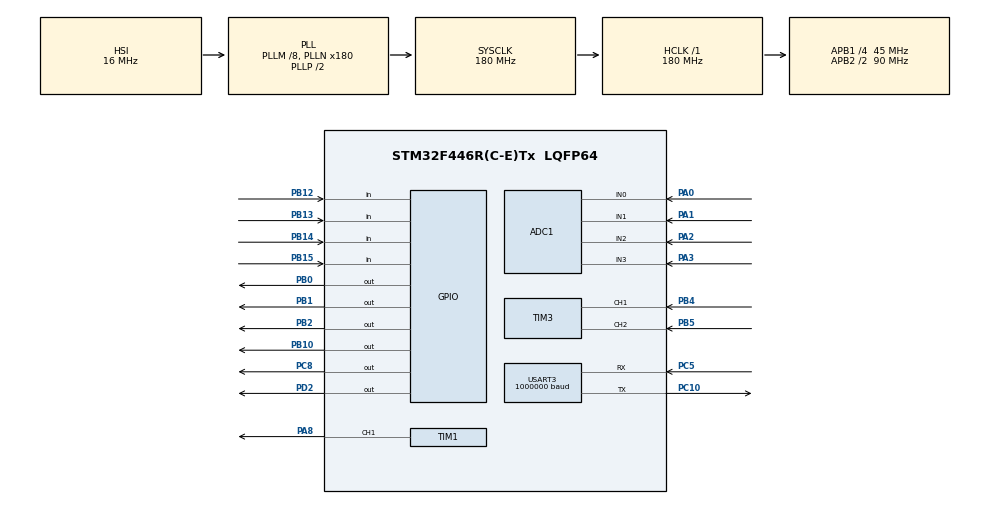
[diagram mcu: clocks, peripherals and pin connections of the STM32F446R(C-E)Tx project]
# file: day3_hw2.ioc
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ADC1.Channel-0\#ChannelRegularConversion=ADC_CHANNEL_0
ADC1.Channel-1\#ChannelRegularConversion=ADC_CHANNEL_1
ADC1.Channel-2\#ChannelRegularConversion=ADC_CHANNEL_2
ADC1.Channel-3\#ChannelRegularConversion=ADC_CHANNEL_3
ADC1.DMAContinuousRequests=ENABLE
ADC1.ExternalTrigConv=ADC_EXTERNALTRIGCONV_T8_TRGO
ADC1.NbrOfConversion=4
ADC1.NbrOfConversionFlag=1
ADC1.Rank-0\#ChannelRegularConversion=1
ADC1.Rank-1\#ChannelRegularConversion=2
ADC1.Rank-2\#ChannelRegularConversion=3
ADC1.Rank-3\#ChannelRegularConversion=4
ADC1.SamplingTime-0\#ChannelRegularConversion=ADC_SAMPLETIME_15CYCLES
ADC1.SamplingTime-1\#ChannelRegularConversion=ADC_SAMPLETIME_15CYCLES
ADC1.SamplingTime-2\#ChannelRegularConversion=ADC_SAMPLETIME_15CYCLES
ADC1.SamplingTime-3\#ChannelRegularConversion=ADC_SAMPLETIME_15CYCLES
ADC1.ScanConvMode=ENABLE
ADC1.master=1
Dma.ADC1.0.Direction=DMA_PERIPH_TO_MEMORY
Dma.ADC1.0.FIFOMode=DMA_FIFOMODE_DISABLE
Dma.ADC1.0.Instance=DMA2_Stream0
Dma.ADC1.0.MemDataAlignment=DMA_MDATAALIGN_WORD
Dma.ADC1.0.MemInc=DMA_MINC_ENABLE
Dma.ADC1.0.Mode=DMA_CIRCULAR
Dma.ADC1.0.PeriphDataAlignment=DMA_PDATAALIGN_WORD
Dma.ADC1.0.PeriphInc=DMA_PINC_DISABLE
Dma.ADC1.0.Priority=DMA_PRIORITY_LOW
Dma.Request0=ADC1
Dma.Request1=USART3_RX
Dma.USART3_RX.1.Direction=DMA_PERIPH_TO_MEMORY
Dma.USART3_RX.1.FIFOMode=DMA_FIFOMODE_DISABLE
Dma.USART3_RX.1.Instance=DMA1_Stream1
Dma.USART3_RX.1.MemDataAlignment=DMA_MDATAALIGN_BYTE
Dma.USART3_RX.1.MemInc=DMA_MINC_ENABLE
Dma.USART3_RX.1.Mode=DMA_CIRCULAR
Dma.USART3_RX.1.PeriphDataAlignment=DMA_PDATAALIGN_BYTE
Dma.USART3_RX.1.PeriphInc=DMA_PINC_DISABLE
Dma.USART3_RX.1.Priority=DMA_PRIORITY_LOW
Mcu.Family=STM32F4
Mcu.Name=STM32F446R(C-E)Tx
Mcu.Package=LQFP64
NVIC.ADC_IRQn=true\:0\:0\:false\:false\:true\:true\:true\:true
NVIC.DMA1_Stream1_IRQn=true\:0\:0\:false\:false\:true\:false\:true\:true
NVIC.DMA2_Stream0_IRQn=true\:0\:0\:false\:false\:true\:false\:true\:true
NVIC.PriorityGroup=NVIC_PRIORITYGROUP_4
NVIC.TIM6_DAC_IRQn=true\:0\:0\:false\:false\:true\:true\:true\:true
NVIC.TIM8_BRK_TIM12_IRQn=true\:0\:0\:false\:false\:true\:true\:true\:true
NVIC.TIM8_CC_IRQn=true\:0\:0\:false\:false\:true\:true\:true\:true
NVIC.TIM8_TRG_COM_TIM14_IRQn=true\:0\:0\:false\:false\:true\:true\:true\:true
NVIC.TIM8_UP_TIM13_IRQn=true\:0\:0\:false\:false\:true\:true\:true\:true
NVIC.USART3_IRQn=true\:0\:0\:false\:false\:true\:true\:true\:true
PA0-WKUP.Signal=ADCx_IN0
PA1.Signal=ADCx_IN1
PA13.Mode=Serial_Wire
PA13.Signal=SYS_JTMS-SWDIO
PA14.Mode=Serial_Wire
PA14.Signal=SYS_JTCK-SWCLK
PA2.Signal=ADCx_IN2
PA3.Signal=ADCx_IN3
PA8.Signal=S_TIM1_CH1
PB0.Signal=GPIO_Output
PB1.Signal=GPIO_Output
PB10.Signal=GPIO_Output
PB12.Signal=GPIO_Input
PB13.Signal=GPIO_Input
PB14.Signal=GPIO_Input
PB15.Signal=GPIO_Input
PB2.Signal=GPIO_Output
PB4.GPIO_PuPd=GPIO_PULLUP
PB4.Signal=S_TIM3_CH1
PB5.GPIO_PuPd=GPIO_PULLUP
PB5.Signal=S_TIM3_CH2
PC10.Mode=Asynchronous
PC10.Signal=USART3_TX
PC5.Mode=Asynchronous
PC5.Signal=USART3_RX
PC8.Signal=GPIO_Output
PD2.Signal=GPIO_Output
PH0-OSC_IN.Mode=HSE-External-Oscillator
PH0-OSC_IN.Signal=RCC_OSC_IN
PH1-OSC_OUT.Mode=HSE-External-Oscillator
PH1-OSC_OUT.Signal=RCC_OSC_OUT
ProjectManager.HeapSize=0x200
ProjectManager.StackSize=0x400
ProjectManager.TargetToolchain=STM32CubeIDE
RCC.AHBFreq_Value=180000000
RCC.APB1CLKDivider=RCC_HCLK_DIV4
RCC.APB1Freq_Value=45000000
RCC.APB1TimFreq_Value=90000000
RCC.APB2CLKDivider=RCC_HCLK_DIV2
RCC.APB2Freq_Value=90000000
RCC.APB2TimFreq_Value=180000000
RCC.CortexFreq_Value=180000000
RCC.HCLKFreq_Value=180000000
RCC.HSE_VALUE=16000000
RCC.PLLM=8
RCC.PLLN=180
RCC.SYSCLKFreq_VALUE=180000000
RCC.SYSCLKSource=RCC_SYSCLKSOURCE_PLLCLK
RCC.USBFreq_Value=180000000
RCC.VCOOutputFreq_Value=360000000
SH.ADCx_IN0.0=ADC1_IN0,IN0
SH.ADCx_IN1.0=ADC1_IN1,IN1
SH.ADCx_IN2.0=ADC1_IN2,IN2
SH.ADCx_IN3.0=ADC1_IN3,IN3
SH.S_TIM1_CH1.0=TIM1_CH1,PWM Generation1 CH1
SH.S_TIM3_CH1.0=TIM3_CH1,Encoder_Interface
SH.S_TIM3_CH2.0=TIM3_CH2,Encoder_Interface
TIM1.Channel-PWM\ Generation1\ CH1=TIM_CHANNEL_1
TIM1.Period=1000-1
TIM1.Prescaler=9-1
TIM3.EncoderMode=TIM_ENCODERMODE_TI12
TIM3.IC1Filter=5
TIM3.IC2Filter=5
TIM6.Period=100-1
TIM6.Prescaler=90-1
TIM8.Period=1000-1
TIM8.Prescaler=18-1
TIM8.TIM_MasterOutputTrigger=TIM_TRGO_UPDATE
USART3.BaudRate=1000000
USART3.VirtualMode=VM_ASYNC
VP_TIM6_VS_ClockSourceINT.Mode=Enable_Timer
VP_TIM8_VS_ClockSourceINT.Mode=Internal
board=custom

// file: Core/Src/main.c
/* USER CODE BEGIN Header */
/**
  ******************************************************************************
  * @file           : main.c
  * @brief          : Main program body
  ******************************************************************************
  * @attention
  *
  * Copyright (c) 2026 STMicroelectronics.
  * All rights reserved.
  *
  * This software is licensed under terms that can be found in the LICENSE file
  * in the root directory of this software component.
  * If no LICENSE file comes with this software, it is provided AS-IS.
  *
  ******************************************************************************
  */
/* USER CODE END Header */
#include "main.h"
#include "adc.h"
#include "dma.h"
#include "tim.h"
#include "usart.h"
#include "gpio.h"

/* USER CODE BEGIN PD */
#define DUTY_MAX 700.0  // motor_value = ±1 일 때 CCR (70%)
#define STEP_MS 500  // motor_value 변경 주기 (ms)
/* USER CODE END PD */

/* USER CODE BEGIN PV */
volatile double motor_value = 0.0;  // -1 ~ 1, 부호 = 방향, 크기 = 속도
static int8_t step = 0;  // -10 ~ 10, motor_value = step / 10
static int8_t step_dir = 1;  // +1 증가 / -1 감소
/* USER CODE END PV */

void SystemClock_Config(void);

int main(void)
{

  /* MCU Configuration--------------------------------------------------------*/

  /* Reset of all peripherals, Initializes the Flash interface and the Systick. */
  HAL_Init();

  /* Configure the system clock */
  SystemClock_Config();

  /* Initialize all configured peripherals */
  MX_GPIO_Init();
  MX_DMA_Init();
  MX_ADC1_Init();
  MX_TIM8_Init();
  MX_TIM6_Init();
  MX_USART3_UART_Init();
  MX_TIM1_Init();
  MX_TIM3_Init();
  /* USER CODE BEGIN 2 */
  HAL_TIM_PWM_Start(&htim1, TIM_CHANNEL_1);  // 20kHz PWM 시작
  __HAL_TIM_SET_COMPARE(&htim1, TIM_CHANNEL_1, 0);
  uint32_t last_tick = HAL_GetTick();
  /* USER CODE END 2 */

  /* Infinite loop */
  while (1)
  {

    /* USER CODE BEGIN 3 */
    if (HAL_GetTick() - last_tick >= STEP_MS)  // 0.5초마다 0.1씩 변경
    {
      last_tick += STEP_MS;
      step += step_dir;
      if (step >= 10) step_dir = -1;  // 1 도달 시 감소로 전환
      if (step <= -10) step_dir = 1;  // -1 도달 시 증가로 전환
      motor_value = step / 10.0;
    }

    double value = motor_value;
    double duty;

    if (value > 1.0) value = 1.0;  // 범위 제한
    if (value < -1.0) value = -1.0;

    if (value < 0.0)
    {
      HAL_GPIO_WritePin(GPIOC, GPIO_PIN_8, GPIO_PIN_RESET);  // 음수: CCW
      duty = -value * DUTY_MAX;
    }
    else
    {
      HAL_GPIO_WritePin(GPIOC, GPIO_PIN_8, GPIO_PIN_SET);  // 양수: CW
      duty = value * DUTY_MAX;
    }

    __HAL_TIM_SET_COMPARE(&htim1, TIM_CHANNEL_1, (uint32_t)duty);  // |motor_value| 에 비례한 duty
    HAL_Delay(10);
  }
  /* USER CODE END 3 */
}

void SystemClock_Config(void)
{
  RCC_OscInitTypeDef RCC_OscInitStruct = {0};
  RCC_ClkInitTypeDef RCC_ClkInitStruct = {0};

  /** Configure the main internal regulator output voltage
  */
  __HAL_RCC_PWR_CLK_ENABLE();
  __HAL_PWR_VOLTAGESCALING_CONFIG(PWR_REGULATOR_VOLTAGE_SCALE1);

  /** Initializes the RCC Oscillators according to the specified parameters
  * in the RCC_OscInitTypeDef structure.
  */
  RCC_OscInitStruct.OscillatorType = RCC_OSCILLATORTYPE_HSI;
  RCC_OscInitStruct.HSIState = RCC_HSI_ON;
  RCC_OscInitStruct.HSICalibrationValue = RCC_HSICALIBRATION_DEFAULT;
  RCC_OscInitStruct.PLL.PLLState = RCC_PLL_ON;
  RCC_OscInitStruct.PLL.PLLSource = RCC_PLLSOURCE_HSI;
  RCC_OscInitStruct.PLL.PLLM = 8;
  RCC_OscInitStruct.PLL.PLLN = 180;
  RCC_OscInitStruct.PLL.PLLP = RCC_PLLP_DIV2;
  RCC_OscInitStruct.PLL.PLLQ = 2;
  RCC_OscInitStruct.PLL.PLLR = 2;
  if (HAL_RCC_OscConfig(&RCC_OscInitStruct) != HAL_OK)
  {
    Error_Handler();
  }

  /** Activate the Over-Drive mode
  */
  if (HAL_PWREx_EnableOverDrive() != HAL_OK)
  {
    Error_Handler();
  }

  /** Initializes the CPU, AHB and APB buses clocks
  */
  RCC_ClkInitStruct.ClockType = RCC_CLOCKTYPE_HCLK|RCC_CLOCKTYPE_SYSCLK
                              |RCC_CLOCKTYPE_PCLK1|RCC_CLOCKTYPE_PCLK2;
  RCC_ClkInitStruct.SYSCLKSource = RCC_SYSCLKSOURCE_PLLCLK;
  RCC_ClkInitStruct.AHBCLKDivider = RCC_SYSCLK_DIV1;
  RCC_ClkInitStruct.APB1CLKDivider = RCC_HCLK_DIV4;
  RCC_ClkInitStruct.APB2CLKDivider = RCC_HCLK_DIV2;

  if (HAL_RCC_ClockConfig(&RCC_ClkInitStruct, FLASH_LATENCY_5) != HAL_OK)
  {
    Error_Handler();
  }
}

void Error_Handler(void)
{
  __disable_irq();
  while (1)
  {
  }
}
